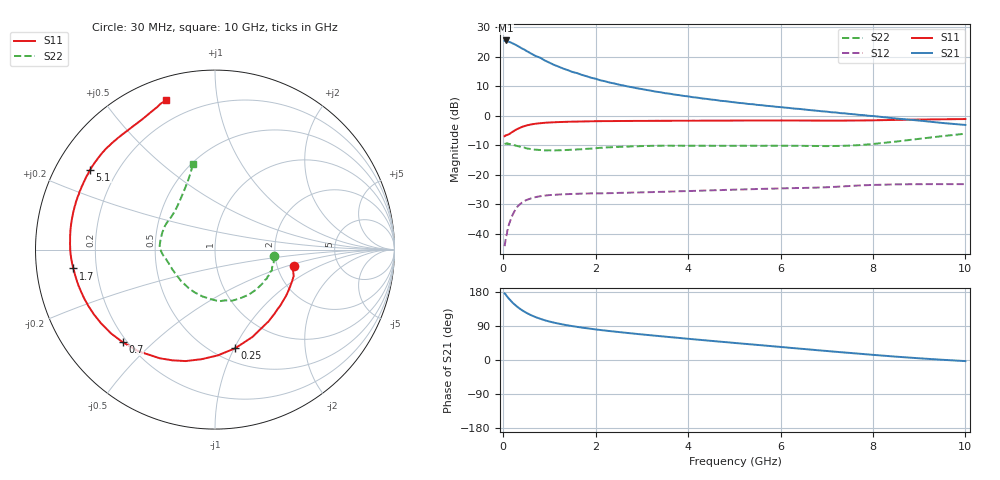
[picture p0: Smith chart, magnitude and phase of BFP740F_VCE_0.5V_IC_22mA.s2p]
! Infineon Technologies  Discrete & RF Semiconductors
! BFP740F
! VCE =  0.5 V,  IC =  22 mA
! Common Emitter S-Parameters:  Oct 2012
# GHz  S  MA  R  50
!  f  S11  S21  S12  S22
! GHz  MAG  ANG  MAG  ANG  MAG  ANG  MAG  ANG
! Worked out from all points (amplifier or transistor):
!   99 points, 30 MHz to 10 GHz, reference 50 ohm
!   highest |S21| = 25.5 dB at 50 MHz (marker M1)
!   |S21| within 3 dB of that: start of sweep to 444.6 MHz
!   unconditionally stable (mu >= 1): start of sweep to 197.2 MHz; 2.399 GHz to end of sweep
!   at 350 MHz: K = 0.67, MSG = 26.8 dB, |S12| = -30.2 dB
!   at 3.5 GHz: K = 1.30, MAG = 13.4 dB, |S12| = -25.8 dB
!   at 10 GHz: K = 2.24, MAG = 3.8 dB, |S12| = -23.2 dB
!   S11 on the Smith chart (normalised r, x): 30 MHz: 2.47, -0.56; 250 MHz: 0.63, -1.01; 700 MHz: 0.18, -0.40; 1.7 GHz: 0.11, -0.07; 5.1 GHz: 0.10, +0.29; 10 GHz: 0.10, +0.72
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0.03  0.4481 -11.7  18.49 175.8  0.0061 31.3  0.3305 -6.2
0.04  0.4514 -15.4  18.49 174.6  0.0068 35.1  0.3329 -8.5
0.05  0.4625 -18.5  18.86 173.6  0.0077 43.5  0.3332 -10.5
0.08  0.4697 -30.1  18.63 168.2  0.0098 49.2  0.3326 -17.5
0.13  0.4874 -47.1  17.82 160.9  0.0148 52.7  0.3314 -29.1
0.2  0.5297 -66.9  16.87 151.5  0.0205 52.6  0.3201 -43.8
0.25  0.5613 -78.5  16.18 146.1  0.0244 50.2  0.3138 -53.3
0.35  0.6152 -97.0  14.65 136.2  0.0308 44.8  0.3005 -71.3
0.45  0.6609 -111.0  13.29 128.1  0.0352 39.2  0.2885 -85.8
0.6  0.7092 -127.0  11.34 118.4  0.0395 32.8  0.2705 -104.4
0.7  0.7287 -135.0  10.27 113.2  0.0415 29.4  0.2643 -114.7
0.8  0.744 -141.1  9.615 108.8  0.0429 26.6  0.2612 -123.0
0.9  0.7561 -147.1  8.617 104.8  0.044 24.3  0.2568 -130.9
1.1  0.7721 -156.0  7.259 98.5  0.0453 21.1  0.2564 -142.8
1.4  0.7867 -165.4  5.903 91.3  0.0466 17.9  0.2622 -155.1
1.7  0.7961 -172.4  4.917 85.6  0.0476 16.2  0.2692 -163.8
2.3  0.8083 177.7  3.642 76.4  0.0484 14.3  0.2901 -173.7
3.4  0.8167 164.3  2.498 62.8  0.0509 13.7  0.3087 177.9
5.1  0.8259 147.3  1.645 44.0  0.0558 13.1  0.3082 164.9
6.7  0.8241 132.0  1.229 27.0  0.0599 12.1  0.3059 148.1
8.5  0.8463 114.7  0.894 8.8  0.0682 7.9  0.363 119.2
10  0.8753 108.3  0.695 -2.9  0.0689 3.9  0.4941 104.4
